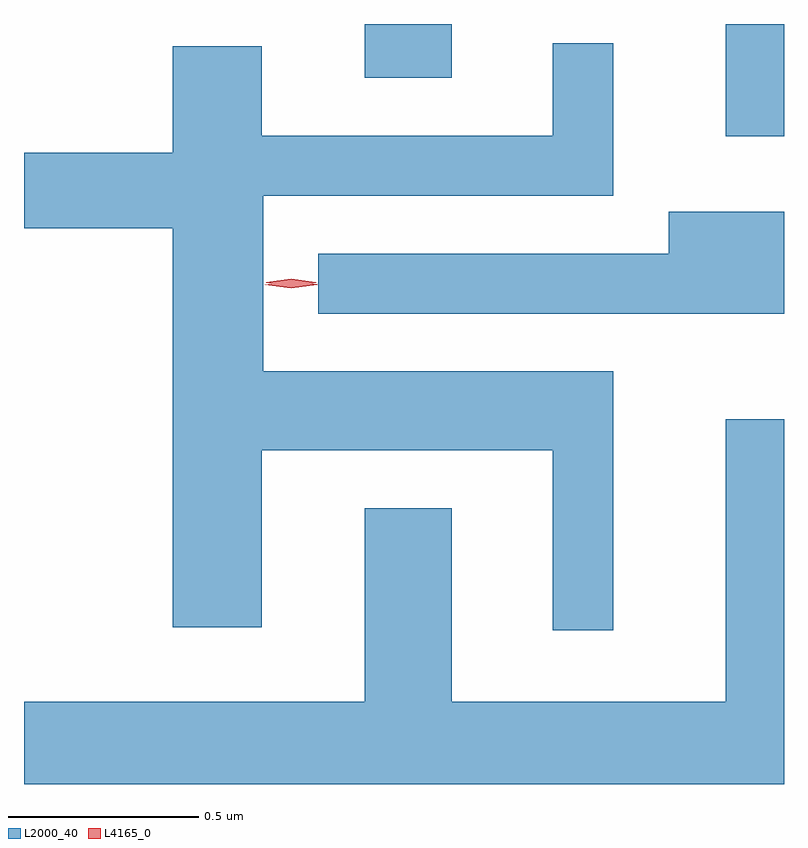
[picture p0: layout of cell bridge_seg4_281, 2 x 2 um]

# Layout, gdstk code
import gdstk
lib = gdstk.Library(unit=1e-6, precision=1e-09)
def R(c, l, rs):  # rectangles x0, y0, x1, y1
    for r in rs: c.add(gdstk.rectangle(r[:2], r[2:], *l))
def P(c, l, *ps):  # polygons
    for p in ps: c.add(gdstk.Polygon(p, *l))
L2000_40 = (2000, 40)
L4165_0 = (4165, 0)

bridge_seg4_281 = lib.new_cell('bridge_seg4_281')
R(bridge_seg4_281, L2000_40, [(402.861,1343.113,403.014,1343.408), (401.911,1343.266,402.139,1343.408)])
P(bridge_seg4_281, L2000_40, [(402.564,1342.494),(401.644,1342.494),(401.644,1342.956),(402.564,1342.956),(402.564,1343.358),(402.406,1343.358),(402.406,1343.114),(401.639,1343.114),(401.639,1343.349),(401.406,1343.349),(401.406,1343.069),(401.014,1343.069),(401.014,1342.871),(401.406,1342.871),(401.406,1341.821),(401.639,1341.821),(401.639,1342.286),(402.406,1342.286),(402.406,1341.813),(402.564,1341.813)],
  [(403.014,1342.914),(402.711,1342.914),(402.711,1342.804),(401.788,1342.804),(401.788,1342.646),(403.014,1342.646)],
  [(403.014,1342.368),(402.861,1342.368),(402.861,1341.624),(402.139,1341.624),(402.139,1342.134),(401.911,1342.134),(401.911,1341.624),(401.014,1341.624),(401.014,1341.408),(403.014,1341.408)])
P(bridge_seg4_281, L4165_0, [(401.717,1342.712),(401.648,1342.722),(401.647,1342.722),(401.648,1342.722),(401.716,1342.732),(401.786,1342.723),(401.786,1342.722),(401.786,1342.722)],
  [(401.717,1342.718),(401.651,1342.727),(401.651,1342.728),(401.651,1342.728),(401.717,1342.738),(401.782,1342.728),(401.783,1342.728),(401.782,1342.727)])

lib.write_gds('bridge_seg4_281.gds')
